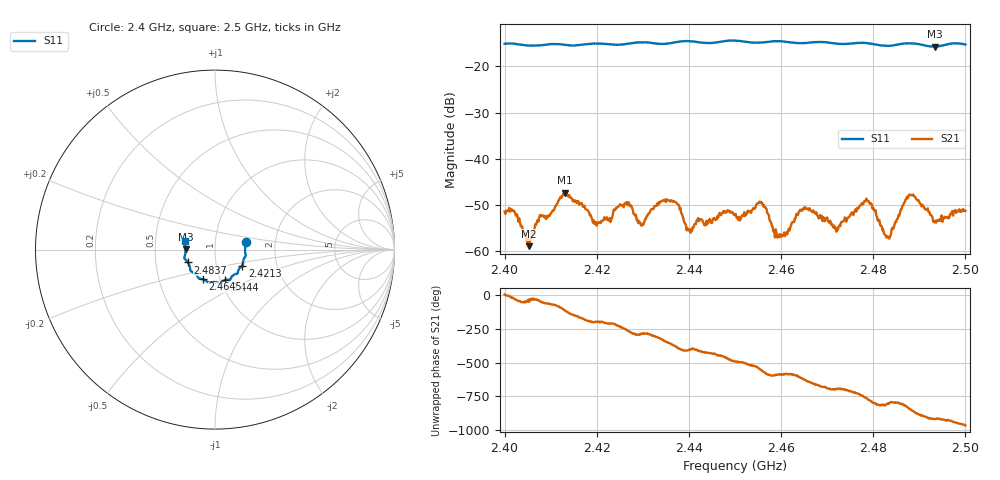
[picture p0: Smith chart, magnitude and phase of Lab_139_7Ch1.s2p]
# Hz S RI R 50
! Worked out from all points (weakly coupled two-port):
!   601 points, 2.4 GHz to 2.5 GHz, reference 50 ohm
!   highest |S21| = -47.36 dB at 2.4132 GHz (marker M1); lowest = -58.9 dB at 2.4053 GHz (marker M2)
!   lowest |S11| = -15.7 dB at 2.4933 GHz (marker M3), VSWR 1.39, Z = 35.9 + j0.0955 ohm
!   |S11| at or under -10 dB: start of sweep to end of sweep
!   S12 and S22 are empty: the file has one direction only
!   S11 on the Smith chart (normalised r, x): 2.4 GHz: 1.41, +0.12; 2.4213 GHz: 1.33, -0.25; 2.444 GHz: 1.06, -0.37; 2.4645 GHz: 0.83, -0.29; 2.4837 GHz: 0.73, -0.11; 2.5 GHz: 0.71, +0.07
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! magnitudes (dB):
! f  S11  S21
! 2.4 GHz  -15.1  -51.4
! 2.4053 GHz  -15.5  -58.9
! 2.4132 GHz  -15.3  -47.4
! 2.4167 GHz  -15.3  -49.6
! 2.4213 GHz  -15.1  -53.3
! 2.4265 GHz  -15.1  -49.4
! 2.4298 GHz  -14.8  -54.1
! 2.4333 GHz  -15.1  -50.0
! 2.44 GHz  -14.5  -55.5
! 2.444 GHz  -14.9  -54.2
! 2.45 GHz  -14.4  -52.1
! 2.4555 GHz  -14.8  -49.5
! 2.4597 GHz  -14.5  -56.4
! 2.4645 GHz  -15.0  -51.0
! 2.4667 GHz  -14.8  -51.4
! 2.4722 GHz  -15.1  -55.0
! 2.4787 GHz  -15.0  -49.0
! 2.4833 GHz  -15.6  -57.2
! 2.4837 GHz  -15.5  -56.9
! 2.4882 GHz  -15.0  -47.9
! 2.4933 GHz  -15.7  -53.8
! 2.5 GHz  -15.3  -51.3
